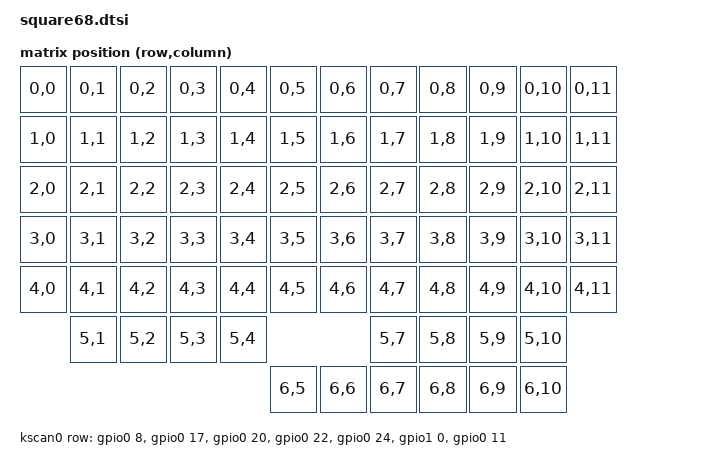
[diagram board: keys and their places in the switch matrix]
/*
 * Copyright (c) 2020 Noir Guo
 *
 * SPDX-License-Identifier: MIT
 */

#include <dt-bindings/zmk/matrix_transform.h>
#include <dt-bindings/led/led.h>

&pinctrl {
// Other pinctrl definitions for other hardware
    i2c0_default: i2c0_default {
        group1 {
            psels = <NRF_PSEL(TWIM_SDA, 0, 10)>,
                    <NRF_PSEL(TWIM_SCL, 0, 9)>;
        };
    };

    i2c0_sleep: i2c0_sleep {
        group1 {
            psels = <NRF_PSEL(TWIM_SDA, 0, 10)>,
                    <NRF_PSEL(TWIM_SCL, 0, 9)>;
            low-power-enable;
        };
    };

    spi3_default: spi3_default {
        group1 {
            psels = <NRF_PSEL(SPIM_MOSI, 0, 6)>;
        };
    };

    spi3_sleep: spi3_sleep {
        group1 {
            psels = <NRF_PSEL(SPIM_MOSI, 0, 6)>;
            low-power-enable;
        };
    };
};

&pro_micro_i2c {
        status = "okay";
	//compatible = "nordic,nrf-twi";
	pinctrl-0 = <&i2c0_default>;
	pinctrl-1 = <&i2c0_sleep>;
	pinctrl-names = "default", "sleep";
    
	oled: ssd1306@3c {
        // 分辨率修改
        width = <128>;
		height = <32>;

        // 0.91或0.96，使用以下
        compatible = "solomon,ssd1306fb";   //0.91   0.96
        segment-offset = <0>;   //0.91   0.96
        multiplex-ratio = <31>; //128*32
        com-sequential; //1.30注销本行
        
        // 1.30，使用以下
        //compatible = "sinowealth,sh1106";   //1.30
        //segment-offset = <2>;   //1.30
		//multiplex-ratio = <63>; //128*64
        
		reg = <0x3c>;
		label = "Dongle_DISPLAY";
		page-offset = <0>;
		display-offset = <0>;
		segment-remap;
		com-invdir;
        inversion-on;   // 翻转颜色
		prechargep = <0x22>;
    };
};

&spi3 {
    compatible = "nordic,nrf-spim";
    status = "okay";

    pinctrl-0 = <&spi3_default>;
    pinctrl-1 = <&spi3_sleep>;
    pinctrl-names = "default", "sleep";

    led_strip: ws2812@0 {
        compatible = "worldsemi,ws2812-spi";

        /* SPI */
        reg = <0>; /* ignored, but necessary for SPI bindings */
        spi-max-frequency = <4000000>;

        /* WS2812 */
        chain-length = <34>; /* arbitrary; change at will */
        spi-one-frame = <0x70>;
        spi-zero-frame = <0x40>;

        color-mapping = <
            LED_COLOR_ID_GREEN
            LED_COLOR_ID_RED
            LED_COLOR_ID_BLUE
        >;
    };
};

/ {
    chosen {
        zmk,kscan = &kscan0;
        zmk,matrix-transform = &default_transform;
        zephyr,display = &oled;
        zmk,underglow = &led_strip;
    };

    default_transform: keymap_transform_0 {
        compatible = "zmk,matrix-transform";
        columns = <12>;
        rows = <7>;

        map = <
   RC(0,0) RC(0,1) RC(0,2) RC(0,3) RC(0,4) RC(0,5)   RC(0,6) RC(0,7) RC(0,8) RC(0,9) RC(0,10) RC(0,11)
   RC(1,0) RC(1,1) RC(1,2) RC(1,3) RC(1,4) RC(1,5)   RC(1,6) RC(1,7) RC(1,8) RC(1,9) RC(1,10) RC(1,11)
   RC(2,0) RC(2,1) RC(2,2) RC(2,3) RC(2,4) RC(2,5)   RC(2,6) RC(2,7) RC(2,8) RC(2,9) RC(2,10) RC(2,11)
   RC(3,0) RC(3,1) RC(3,2) RC(3,3) RC(3,4) RC(3,5)   RC(3,6) RC(3,7) RC(3,8) RC(3,9) RC(3,10) RC(3,11)
   RC(4,0) RC(4,1) RC(4,2) RC(4,3) RC(4,4) RC(4,5)   RC(4,6) RC(4,7) RC(4,8) RC(4,9) RC(4,10) RC(4,11)   
           RC(5,1) RC(5,2) RC(5,3) RC(5,4)                   RC(5,7) RC(5,8) RC(5,9) RC(5,10)
                                           RC(6,5)   RC(6,6) RC(6,7) RC(6,8) RC(6,9) RC(6,10)

        >;
    };

    kscan0: kscan {
        compatible = "zmk,kscan-gpio-matrix";
        diode-direction = "col2row";
        wakeup-source;

        row-gpios
            = <&gpio0 8 (GPIO_ACTIVE_HIGH | GPIO_PULL_DOWN)>
            , <&gpio0 17 (GPIO_ACTIVE_HIGH | GPIO_PULL_DOWN)>
            , <&gpio0 20 (GPIO_ACTIVE_HIGH | GPIO_PULL_DOWN)>
            , <&gpio0 22 (GPIO_ACTIVE_HIGH | GPIO_PULL_DOWN)>
            , <&gpio0 24 (GPIO_ACTIVE_HIGH | GPIO_PULL_DOWN)>
            , <&gpio1 0 (GPIO_ACTIVE_HIGH | GPIO_PULL_DOWN)>
            , <&gpio0 11 (GPIO_ACTIVE_HIGH | GPIO_PULL_DOWN)>
        ;

    };

};
